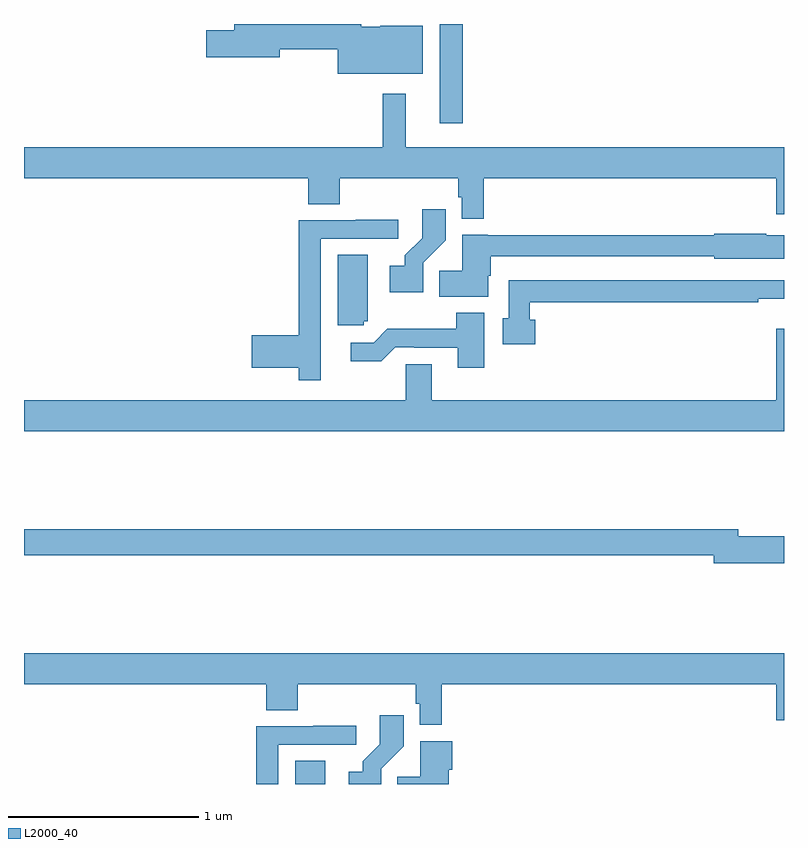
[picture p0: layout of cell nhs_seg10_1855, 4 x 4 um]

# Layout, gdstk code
import gdstk
lib = gdstk.Library(unit=1e-6, precision=1e-09)
def R(c, l, rs):  # rectangles x0, y0, x1, y1
    for r in rs: c.add(gdstk.rectangle(r[:2], r[2:], *l))
def P(c, l, *ps):  # polygons
    for p in ps: c.add(gdstk.Polygon(p, *l))
L2000_40 = (2000, 40)

nhs_seg10_1855 = lib.new_cell('nhs_seg10_1855')
R(nhs_seg10_1855, L2000_40, [(210.428,1258.5,210.586,1258.622), (211.187,1261.977,211.309,1262.5)])
P(nhs_seg10_1855, L2000_40, [(211.099,1262.491),(210.876,1262.491),(210.876,1262.485),(210.776,1262.485),(210.776,1262.5),(210.107,1262.5),(210.107,1262.468),(209.958,1262.468),(209.958,1262.326),(210.346,1262.326),(210.346,1262.368),(210.65,1262.368),(210.65,1262.237),(211.099,1262.237)],
  [(211.421,1261.688),(212.96,1261.688),(212.96,1261.5),(213,1261.5),(213,1261.852),(211.009,1261.852),(211.009,1262.134),(210.888,1262.134),(210.888,1261.852),(209,1261.852),(209,1261.688),(210.497,1261.688),(210.497,1261.552),(210.662,1261.552),(210.662,1261.688),(211.285,1261.688),(211.285,1261.587),(211.305,1261.587),(211.305,1261.475),(211.421,1261.475)],
  [(211.101,1261.243),(211.22,1261.362),(211.22,1261.525),(211.095,1261.525),(211.095,1261.373),(211.004,1261.283),(211.004,1261.228),(210.924,1261.228),(210.924,1261.088),(211.101,1261.088)],
  [(210.562,1260.846),(210.561,1260.846),(210.561,1261.371),(210.97,1261.371),(210.97,1261.47),(210.745,1261.47),(210.745,1261.467),(210.445,1261.467),(210.445,1260.863),(210.198,1260.863),(210.198,1260.692),(210.445,1260.692),(210.445,1260.624),(210.562,1260.624)],
  [(211.444,1261.175),(211.457,1261.175),(211.457,1261.278),(212.634,1261.278),(212.634,1261.265),(213,1261.265),(213,1261.387),(212.906,1261.387),(212.906,1261.395),(212.634,1261.395),(212.634,1261.387),(211.44,1261.387),(211.44,1261.39),(211.307,1261.39),(211.307,1261.202),(211.186,1261.202),(211.186,1261.064),(211.444,1261.064)],
  [(210.789,1260.936),(210.808,1260.936),(210.808,1261.285),(210.65,1261.285),(210.65,1260.915),(210.789,1260.915)],
  [(211.691,1260.943),(211.663,1260.943),(211.663,1261.036),(212.864,1261.036),(212.864,1261.055),(213,1261.055),(213,1261.152),(211.551,1261.152),(211.551,1260.951),(211.52,1260.951),(211.52,1260.814),(211.691,1260.814)],
  [(211.423,1260.979),(211.276,1260.979),(211.276,1260.895),(210.913,1260.895),(210.84,1260.822),(210.72,1260.822),(210.72,1260.725),(210.881,1260.725),(210.954,1260.798),(211.054,1260.798),(211.054,1260.795),(211.283,1260.795),(211.283,1260.69),(211.423,1260.69)],
  [(213,1260.895),(212.96,1260.895),(212.96,1260.52),(211.147,1260.52),(211.147,1260.71),(211.008,1260.71),(211.008,1260.52),(209,1260.52),(209,1260.356),(213,1260.356)],
  [(213,1259.804),(212.758,1259.804),(212.758,1259.84),(209,1259.84),(209,1259.704),(212.63,1259.704),(212.63,1259.662),(213,1259.662)],
  [(211.199,1259.024),(212.96,1259.024),(212.96,1258.836),(213,1258.836),(213,1259.188),(209,1259.188),(209,1259.024),(210.275,1259.024),(210.275,1258.888),(210.44,1258.888),(210.44,1259.024),(211.063,1259.024),(211.063,1258.923),(211.083,1258.923),(211.083,1258.811),(211.199,1258.811)],
  [(210.879,1258.579),(210.998,1258.698),(210.998,1258.861),(210.873,1258.861),(210.873,1258.709),(210.782,1258.619),(210.782,1258.564),(210.71,1258.564),(210.71,1258.5),(210.879,1258.5)],
  [(210.339,1258.707),(210.748,1258.707),(210.748,1258.806),(210.523,1258.806),(210.523,1258.803),(210.223,1258.803),(210.223,1258.5),(210.339,1258.5)],
  [(211.235,1258.574),(211.255,1258.574),(211.255,1258.726),(211.085,1258.726),(211.085,1258.538),(210.964,1258.538),(210.964,1258.5),(211.235,1258.5)])

lib.write_gds('nhs_seg10_1855.gds')
